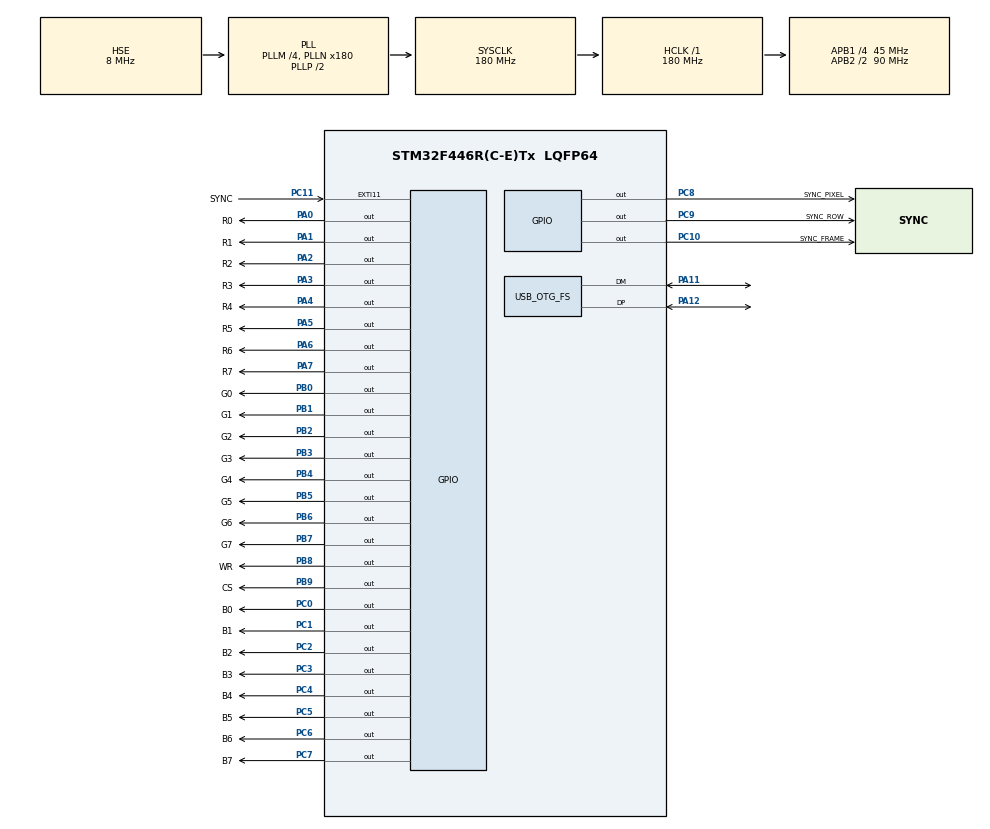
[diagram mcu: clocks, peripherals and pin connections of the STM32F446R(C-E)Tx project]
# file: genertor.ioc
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Mcu.Family=STM32F4
Mcu.Name=STM32F446R(C-E)Tx
Mcu.Package=LQFP64
NVIC.EXTI15_10_IRQn=true\:0\:0\:false\:false\:true\:true\:true\:true
NVIC.OTG_FS_IRQn=true\:0\:0\:false\:false\:true\:false\:true\:true
NVIC.PriorityGroup=NVIC_PRIORITYGROUP_4
NVIC.TIM1_UP_TIM10_IRQn=true\:1\:0\:true\:false\:true\:true\:true\:true
PA0-WKUP.GPIO_Label=R0
PA0-WKUP.GPIO_PuPd=GPIO_PULLUP
PA0-WKUP.GPIO_Speed=GPIO_SPEED_FREQ_VERY_HIGH
PA0-WKUP.PinState=GPIO_PIN_SET
PA0-WKUP.Signal=GPIO_Output
PA1.GPIO_Label=R1
PA1.GPIO_PuPd=GPIO_PULLUP
PA1.GPIO_Speed=GPIO_SPEED_FREQ_VERY_HIGH
PA1.PinState=GPIO_PIN_SET
PA1.Signal=GPIO_Output
PA11.Mode=Device_Only
PA11.Signal=USB_OTG_FS_DM
PA12.Mode=Device_Only
PA12.Signal=USB_OTG_FS_DP
PA13.Mode=Serial_Wire
PA13.Signal=SYS_JTMS-SWDIO
PA14.Mode=Serial_Wire
PA14.Signal=SYS_JTCK-SWCLK
PA2.GPIO_Label=R2
PA2.GPIO_PuPd=GPIO_PULLUP
PA2.GPIO_Speed=GPIO_SPEED_FREQ_VERY_HIGH
PA2.PinState=GPIO_PIN_SET
PA2.Signal=GPIO_Output
PA3.GPIO_Label=R3
PA3.GPIO_PuPd=GPIO_PULLUP
PA3.GPIO_Speed=GPIO_SPEED_FREQ_VERY_HIGH
PA3.PinState=GPIO_PIN_SET
PA3.Signal=GPIO_Output
PA4.GPIO_Label=R4
PA4.GPIO_PuPd=GPIO_PULLUP
PA4.GPIO_Speed=GPIO_SPEED_FREQ_VERY_HIGH
PA4.PinState=GPIO_PIN_SET
PA4.Signal=GPIO_Output
PA5.GPIO_Label=R5
PA5.GPIO_PuPd=GPIO_PULLUP
PA5.GPIO_Speed=GPIO_SPEED_FREQ_VERY_HIGH
PA5.PinState=GPIO_PIN_SET
PA5.Signal=GPIO_Output
PA6.GPIO_Label=R6
PA6.GPIO_PuPd=GPIO_PULLUP
PA6.GPIO_Speed=GPIO_SPEED_FREQ_VERY_HIGH
PA6.PinState=GPIO_PIN_SET
PA6.Signal=GPIO_Output
PA7.GPIO_Label=R7
PA7.GPIO_PuPd=GPIO_PULLUP
PA7.GPIO_Speed=GPIO_SPEED_FREQ_VERY_HIGH
PA7.PinState=GPIO_PIN_SET
PA7.Signal=GPIO_Output
PB0.GPIO_Label=G0
PB0.GPIO_Speed=GPIO_SPEED_FREQ_VERY_HIGH
PB0.Signal=GPIO_Output
PB1.GPIO_Label=G1
PB1.GPIO_Speed=GPIO_SPEED_FREQ_VERY_HIGH
PB1.Signal=GPIO_Output
PB2.GPIO_Label=G2
PB2.GPIO_Speed=GPIO_SPEED_FREQ_VERY_HIGH
PB2.Signal=GPIO_Output
PB3.GPIO_Label=G3
PB3.GPIO_Speed=GPIO_SPEED_FREQ_VERY_HIGH
PB3.Signal=GPIO_Output
PB4.GPIO_Label=G4
PB4.GPIO_Speed=GPIO_SPEED_FREQ_VERY_HIGH
PB4.Signal=GPIO_Output
PB5.GPIO_Label=G5
PB5.GPIO_Speed=GPIO_SPEED_FREQ_VERY_HIGH
PB5.Signal=GPIO_Output
PB6.GPIO_Label=G6
PB6.GPIO_Speed=GPIO_SPEED_FREQ_VERY_HIGH
PB6.Signal=GPIO_Output
PB7.GPIO_Label=G7
PB7.GPIO_Speed=GPIO_SPEED_FREQ_VERY_HIGH
PB7.Signal=GPIO_Output
PB8.GPIO_Label=WR
PB8.GPIO_Speed=GPIO_SPEED_FREQ_VERY_HIGH
PB8.Signal=GPIO_Output
PB9.GPIO_Label=CS
PB9.GPIO_Speed=GPIO_SPEED_FREQ_VERY_HIGH
PB9.Signal=GPIO_Output
PC0.GPIO_Label=B0
PC0.GPIO_Speed=GPIO_SPEED_FREQ_VERY_HIGH
PC0.Signal=GPIO_Output
PC1.GPIO_Label=B1
PC1.GPIO_Speed=GPIO_SPEED_FREQ_VERY_HIGH
PC1.Signal=GPIO_Output
PC10.GPIO_Label=SYNC_FRAME
PC10.GPIO_Speed=GPIO_SPEED_FREQ_HIGH
PC10.Signal=GPIO_Output
PC11.GPIO_Label=SYNC
PC11.GPIO_ModeDefaultEXTI=GPIO_MODE_IT_RISING_FALLING
PC11.Signal=GPXTI11
PC2.GPIO_Label=B2
PC2.GPIO_Speed=GPIO_SPEED_FREQ_VERY_HIGH
PC2.Signal=GPIO_Output
PC3.GPIO_Label=B3
PC3.GPIO_Speed=GPIO_SPEED_FREQ_VERY_HIGH
PC3.Signal=GPIO_Output
PC4.GPIO_Label=B4
PC4.GPIO_Speed=GPIO_SPEED_FREQ_VERY_HIGH
PC4.Signal=GPIO_Output
PC5.GPIO_Label=B5
PC5.GPIO_Speed=GPIO_SPEED_FREQ_VERY_HIGH
PC5.Signal=GPIO_Output
PC6.GPIO_Label=B6
PC6.GPIO_Speed=GPIO_SPEED_FREQ_VERY_HIGH
PC6.Signal=GPIO_Output
PC7.GPIO_Label=B7
PC7.GPIO_Speed=GPIO_SPEED_FREQ_VERY_HIGH
PC7.Signal=GPIO_Output
PC8.GPIO_Label=SYNC_PIXEL
PC8.GPIO_Speed=GPIO_SPEED_FREQ_VERY_HIGH
PC8.Signal=GPIO_Output
PC9.GPIO_Label=SYNC_ROW
PC9.GPIO_Speed=GPIO_SPEED_FREQ_HIGH
PC9.Signal=GPIO_Output
PH0-OSC_IN.Mode=HSE-External-Oscillator
PH0-OSC_IN.Signal=RCC_OSC_IN
PH1-OSC_OUT.Mode=HSE-External-Oscillator
PH1-OSC_OUT.Signal=RCC_OSC_OUT
ProjectManager.HeapSize=0x200
ProjectManager.StackSize=0x400
ProjectManager.TargetToolchain=STM32CubeIDE
RCC.AHBFreq_Value=180000000
RCC.APB1CLKDivider=RCC_HCLK_DIV4
RCC.APB1Freq_Value=45000000
RCC.APB1TimFreq_Value=90000000
RCC.APB2CLKDivider=RCC_HCLK_DIV2
RCC.APB2Freq_Value=90000000
RCC.APB2TimFreq_Value=180000000
RCC.CortexFreq_Value=180000000
RCC.HCLKFreq_Value=180000000
RCC.HSE_VALUE=8000000
RCC.PLLM=4
RCC.PLLN=180
RCC.PLLQ=8
RCC.PLLSAIM=4
RCC.PLLSAIN=96
RCC.PLLSAIP=RCC_PLLSAIP_DIV4
RCC.PLLSourceVirtual=RCC_PLLSOURCE_HSE
RCC.SYSCLKFreq_VALUE=180000000
RCC.SYSCLKSource=RCC_SYSCLKSOURCE_PLLCLK
RCC.USBCLockSelection=RCC_CLK48CLKSOURCE_PLLSAIP
RCC.USBFreq_Value=48000000
RCC.VCOOutputFreq_Value=360000000
TIM10.Period=25-1
TIM10.Prescaler=9-1
USB_DEVICE.CLASS_NAME_FS=CDC
USB_DEVICE.VirtualMode-CDC_FS=Cdc
USB_DEVICE.VirtualModeFS=Cdc_FS
USB_OTG_FS.VirtualMode=Device_Only
VP_TIM10_VS_ClockSourceINT.Mode=Enable_Timer
VP_USB_DEVICE_VS_USB_DEVICE_CDC_FS.Mode=CDC_FS
board=custom

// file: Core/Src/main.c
/* USER CODE BEGIN Header */
/**
  ******************************************************************************
  * @file           : main.c
  * @brief          : Main program body
  ******************************************************************************
  * @attention
  *
  * Copyright (c) 2025 STMicroelectronics.
  * All rights reserved.
  *
  * This software is licensed under terms that can be found in the LICENSE file
  * in the root directory of this software component.
  * If no LICENSE file comes with this software, it is provided AS-IS.
  *
  ******************************************************************************
  */
/* USER CODE END Header */
#include "main.h"
#include "tim.h"
#include "usb_device.h"
#include "gpio.h"

/* USER CODE BEGIN Includes */
#include "frame.h"
#include "memory.h"
/* USER CODE END Includes */

/* USER CODE BEGIN PD */
#define MAX_ITTER WIDTH*HIGH
/* USER CODE END PD */

/* USER CODE BEGIN PV */
typedef enum _Status_Tim{
	Status_Tim_on,
	Status_Tim_off
} Status_Tim;
/* USER CODE END PV */

void SystemClock_Config(void);
/* USER CODE BEGIN PFP */

__IO uint32_t row[200];
__IO uint32_t itter = 0;
void copy_to_buffers(const uint32_t* frame_buffer, uint32_t* buffer);
__IO int8_t data = 0;
__IO Status_Tim status = Status_Tim_off;
/* USER CODE END PFP */

/* USER CODE BEGIN 0 */
//uint32_t sine_val[1000];
/* USER CODE END 0 */

int main(void)
{

  /* MCU Configuration--------------------------------------------------------*/

  /* Reset of all peripherals, Initializes the Flash interface and the Systick. */
  HAL_Init();

  /* Configure the system clock */
  SystemClock_Config();

  /* Initialize all configured peripherals */
  MX_GPIO_Init();
  MX_USB_DEVICE_Init();
  MX_TIM10_Init();
  /* USER CODE BEGIN 2 */

  HAL_TIM_Base_Start_IT(&htim10);

  //HAL_DAC_Start_DMA(&hdac, DAC1_CHANNEL_1, (uint32_t*)frame, 200*120, DAC_ALIGN_12B_R);
  //copy_to_buffers((uint32_t*)&frame, (uint32_t*)&row);

  /* USER CODE END 2 */

  /* Infinite loop */
  while (1)
  {
		/*
		GPIOA->ODR = (GPIOA->ODR & 0xFF00) | (0x80); // for USB safety PA11 and PA12
		GPIOB->ODR = (GPIOB->ODR & 0xFF00) | (0x80);
		GPIOC->ODR = (GPIOC->ODR & 0xFA00) | (0x80);
    */
  }
}

void SystemClock_Config(void)
{
  RCC_OscInitTypeDef RCC_OscInitStruct = {0};
  RCC_ClkInitTypeDef RCC_ClkInitStruct = {0};

  /** Configure the main internal regulator output voltage
  */
  __HAL_RCC_PWR_CLK_ENABLE();
  __HAL_PWR_VOLTAGESCALING_CONFIG(PWR_REGULATOR_VOLTAGE_SCALE1);

  /** Initializes the RCC Oscillators according to the specified parameters
  * in the RCC_OscInitTypeDef structure.
  */
  RCC_OscInitStruct.OscillatorType = RCC_OSCILLATORTYPE_HSE;
  RCC_OscInitStruct.HSEState = RCC_HSE_ON;
  RCC_OscInitStruct.PLL.PLLState = RCC_PLL_ON;
  RCC_OscInitStruct.PLL.PLLSource = RCC_PLLSOURCE_HSE;
  RCC_OscInitStruct.PLL.PLLM = 4;
  RCC_OscInitStruct.PLL.PLLN = 180;
  RCC_OscInitStruct.PLL.PLLP = RCC_PLLP_DIV2;
  RCC_OscInitStruct.PLL.PLLQ = 8;
  RCC_OscInitStruct.PLL.PLLR = 2;
  if (HAL_RCC_OscConfig(&RCC_OscInitStruct) != HAL_OK)
  {
    Error_Handler();
  }

  /** Activate the Over-Drive mode
  */
  if (HAL_PWREx_EnableOverDrive() != HAL_OK)
  {
    Error_Handler();
  }

  /** Initializes the CPU, AHB and APB buses clocks
  */
  RCC_ClkInitStruct.ClockType = RCC_CLOCKTYPE_HCLK|RCC_CLOCKTYPE_SYSCLK
                              |RCC_CLOCKTYPE_PCLK1|RCC_CLOCKTYPE_PCLK2;
  RCC_ClkInitStruct.SYSCLKSource = RCC_SYSCLKSOURCE_PLLCLK;
  RCC_ClkInitStruct.AHBCLKDivider = RCC_SYSCLK_DIV1;
  RCC_ClkInitStruct.APB1CLKDivider = RCC_HCLK_DIV4;
  RCC_ClkInitStruct.APB2CLKDivider = RCC_HCLK_DIV2;

  if (HAL_RCC_ClockConfig(&RCC_ClkInitStruct, FLASH_LATENCY_5) != HAL_OK)
  {
    Error_Handler();
  }
}

/* USER CODE BEGIN 4 */
/*void HAL_TIM_PWM_PulseFinishedCallback(TIM_HandleTypeDef *htim)
{
	if(htim->Instance == TIM3)
	{

	}
}*/
void copy_to_buffers(const uint32_t* frame_buffer, uint32_t* buffer)
{
	memcpy((uint8_t*)buffer,(uint8_t*)frame_buffer + (itter*WIDTH), WIDTH * sizeof(uint32_t));
}

void HAL_GPIO_EXTI_Callback(uint16_t GPIO_Pin)
{
	if(HAL_GPIO_ReadPin(SYNC_GPIO_Port, SYNC_Pin) == GPIO_PIN_SET){
		status = Status_Tim_off;
	}
	else{
		status = Status_Tim_on;
	}
}

void HAL_TIM_PeriodElapsedCallback(TIM_HandleTypeDef *htim)
{
	if(status != Status_Tim_on)
	{
		return;
	}
	GPIOC->ODR ^= (1 << 8); // PC8 toggle it should be high
	GPIOA->ODR = (GPIOA->ODR & 0xFF00) | (0xff & (frame[itter]>>16)); // for USB safety PA11 and PA12
	GPIOB->ODR = (GPIOB->ODR & 0xFF00) | (0xff & (frame[itter]>>8));
	GPIOC->ODR = (GPIOC->ODR & 0xFF00) | (0xff & frame[itter]); // toggle PC8 and PC10 if they are high
	GPIOC->ODR ^= (1 << 8);
	//GPIOA->ODR = (GPIOA->ODR & 0xFF00) | (0xff & (data)); // for USB safety PA11 and PA12
	//GPIOB->ODR = 0xff & (data);
	//GPIOC->ODR = 0xff & data; // toggle PC8 and PC10 if they are high
	//data++;

	itter++;
	if(itter >= MAX_ITTER)
	{
		GPIOC->ODR ^= (1 << 10); // PC10 toggle it should be high
		itter= 0;
		status = Status_Tim_off;
		GPIOC->ODR ^= (1 << 10);
	}
}

/*void HAL_DAC_ConvCpltCallbackCh1(DAC_HandleTypeDef *hdac)
{
	copy_to_buffers((uint8_t*)&rg_frame, (uint8_t*)&RG);
	copy_to_buffers((uint8_t*)&gb_frame, (uint8_t*)&GB);

	itter++;
	if(itter == HIGH)
	{
		itter = 0;
	}

	HAL_GPIO_TogglePin(TEST_2_GPIO_Port, TEST_2_Pin);

}*/
/* USER CODE END 4 */

void Error_Handler(void)
{
  __disable_irq();
  while (1)
  {
  }
}
